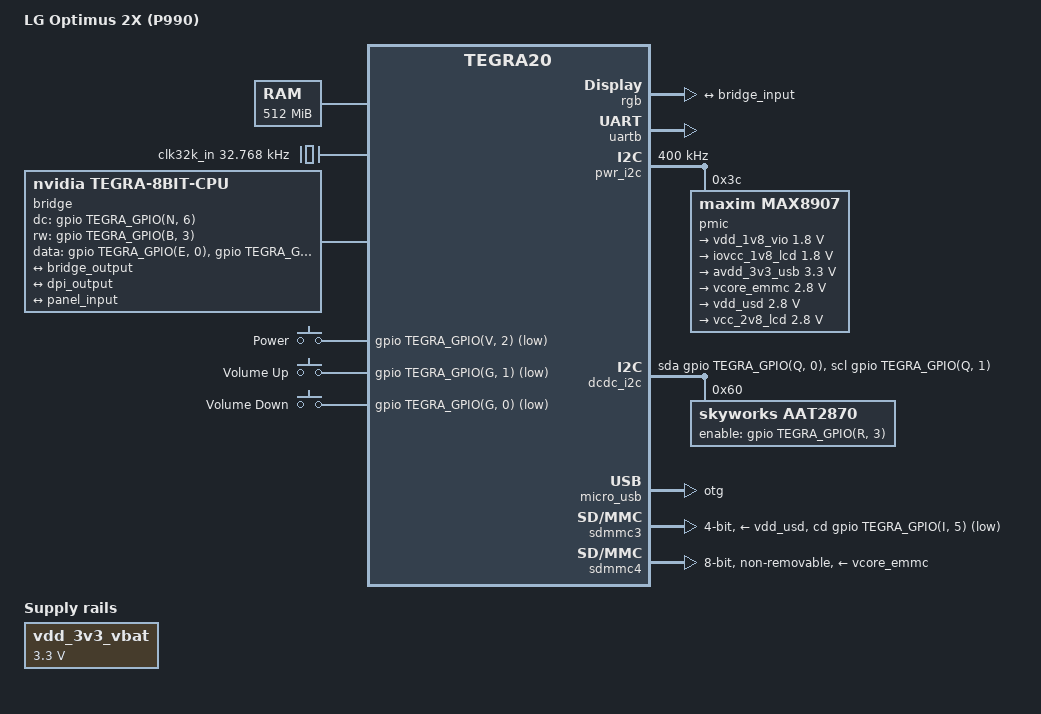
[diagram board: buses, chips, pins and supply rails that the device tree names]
// SPDX-License-Identifier: GPL-2.0
/dts-v1/;

#include <dt-bindings/input/input.h>

#include "tegra20.dtsi"

/ {
	model = "LG Optimus 2X (P990)";
	compatible = "lg,star", "nvidia,tegra20";

	chosen {
		stdout-path = &uartb;
	};

	aliases {
		i2c0 = &pwr_i2c;
		i2c5 = &dcdc_i2c;

		mmc0 = &sdmmc4;	/* eMMC */
		mmc1 = &sdmmc3; /* uSD slot */

		rtc0 = &pmic;
		rtc1 = "/rtc@7000e000";

		usb0 = &micro_usb;
	};

	memory {
		device_type = "memory";
		reg = <0x00000000 0x20000000>; /* 512 MB */
	};

	host1x@50000000 {
		dc@54200000 {
			rgb {
				status = "okay";

				port {
					dpi_output: endpoint {
						remote-endpoint = <&bridge_input>;
						bus-width = <24>;
					};
				};
			};
		};
	};

	bsev@6001b000 {
		status = "okay";
	};

	pinmux@70000014 {
		pinctrl-names = "default";
		pinctrl-0 = <&state_default>;

		state_default: pinmux {
			crt {
				nvidia,pins = "crtp";
				nvidia,function = "crt";
			};

			dap1 {
				nvidia,pins = "dap1";
				nvidia,function = "dap1";
			};

			dap2 {
				nvidia,pins = "dap2";
				nvidia,function = "dap2";
			};

			dap3 {
				nvidia,pins = "dap3";
				nvidia,function = "dap3";
			};

			dap4 {
				nvidia,pins = "dap4";
				nvidia,function = "dap4";
			};

			displaya {
				nvidia,pins = "lcsn", "ld0", "ld1", "ld10",
						"ld11", "ld12", "ld13", "ld14",
						"ld15", "ld16", "ld17", "ld2",
						"ld3", "ld4", "ld5", "ld6",
						"ld7", "ld8", "ld9", "ldc",
						"ldi", "lhp0", "lhp1", "lhp2",
						"lhs", "lm0", "lm1", "lpp",
						"lpw0", "lpw1", "lpw2", "lsc0",
						"lsc1", "lsck", "lsda", "lsdi",
						"lspi", "lvp0", "lvp1", "lvs";
				nvidia,function = "displaya";
			};

			gmi {
				nvidia,pins = "ata", "atc", "atd", "ate",
						"gmb", "irrx", "irtx";
				nvidia,function = "gmi";
			};

			hdmi {
				nvidia,pins = "hdint";
				nvidia,function = "hdmi";
			};

			i2c {
				nvidia,pins = "i2cp", "rm";
				nvidia,function = "i2c";
			};

			i2c2 {
				nvidia,pins = "pta";
				nvidia,function = "i2c2";
			};

			i2c3 {
				nvidia,pins = "dtf";
				nvidia,function = "i2c3";
			};

			kbc {
				nvidia,pins = "kbca", "kbcb", "kbcc", "kbce",
						"kbcf";
				nvidia,function = "kbc";
			};

			owr {
				nvidia,pins = "owc";
				nvidia,function = "owr";
			};

			plla-out {
				nvidia,pins = "cdev1";
				nvidia,function = "plla_out";
			};

			pllp-out4 {
				nvidia,pins = "cdev2";
				nvidia,function = "pllp_out4";
			};

			pwm {
				nvidia,pins = "gpu";
				nvidia,function = "pwm";
			};

			pwr-on {
				nvidia,pins = "pmc";
				nvidia,function = "pwr_on";
			};

			rtck {
				nvidia,pins = "gpu7";
				nvidia,function = "rtck";
			};

			sdio1 {
				nvidia,pins = "sdio1";
				nvidia,function = "sdio1";
			};

			sdio2 {
				nvidia,pins = "kbcd";
				nvidia,function = "sdio2";
			};

			sdio3 {
				nvidia,pins = "sdb", "sdc", "sdd", "slxa",
						"slxd", "slxk", "slxc";
				nvidia,function = "sdio3";
			};

			sdio4 {
				nvidia,pins = "atb", "gma", "gme";
				nvidia,function = "sdio4";
			};

			spi1 {
				nvidia,pins = "uda";
				nvidia,function = "spi1";
			};

			spi2 {
				nvidia,pins = "spia", "spib", "spic";
				nvidia,function = "spi2";
			};

			spi2-alt {
				nvidia,pins = "spid", "spie", "spig", "spih";
				nvidia,function = "spi2_alt";
			};

			uarta {
				nvidia,pins = "uaa", "uab";
				nvidia,function = "uarta";
			};

			uartc {
				nvidia,pins = "uca", "ucb";
				nvidia,function = "uartc";
			};

			uartd {
				nvidia,pins = "gmc";
				nvidia,function = "uartd";
			};

			vi {
				nvidia,pins = "dtc", "dtd";
				nvidia,function = "vi";
			};

			vi-sensor-clk {
				nvidia,pins = "csus";
				nvidia,function = "vi_sensor_clk";
			};

			conf-lsda {
				nvidia,pins = "lsda", "owc";
				nvidia,pull = <TEGRA_PIN_PULL_UP>;
				nvidia,tristate = <TEGRA_PIN_ENABLE>;
			};

			conf-ata {
				nvidia,pins = "ata", "dtf", "gmb", "gmc",
						"i2cp", "irrx", "kbca", "kbcc",
						"kbcd", "kbce", "kbcf", "lcsn",
						"ldc", "pta", "rm", "sdc",
						"sdd", "spie", "spif", "spig",
						"spih", "uaa", "uad", "uca",
						"ucb", "pmce";
				nvidia,pull = <TEGRA_PIN_PULL_UP>;
				nvidia,tristate = <TEGRA_PIN_DISABLE>;
			};

			conf-crtp {
				nvidia,pins = "crtp", "gpv", "hdint", "lhs",
						"lm0", "lpw0", "lpw1", "lpw2",
						"lsc1", "lsck", "lspi", "lvs",
						"slxa", "slxd", "spdi";
				nvidia,pull = <TEGRA_PIN_PULL_NONE>;
				nvidia,tristate = <TEGRA_PIN_ENABLE>;
			};

			conf-atb {
				nvidia,pins = "atb", "atc", "atd", "ate",
						"cdev1", "cdev2", "csus", "dap1",
						"dap2", "dap3", "dap4", "ddc",
						"dta", "dtb", "dte", "gma",
						"gmd", "gme", "gpu", "gpu7",
						"irtx", "kbcb", "lm1", "lsc0",
						"lsdi", "lvp0", "pmc", "sdb",
						"sdio1", "slxc", "spdo", "spia",
						"spib", "spic", "uab", "uac",
						"uda", "ck32", "ddrc", "pmca",
						"pmcb", "pmcc", "pmcd", "xm2c",
						"xm2d";
				nvidia,pull = <TEGRA_PIN_PULL_NONE>;
				nvidia,tristate = <TEGRA_PIN_DISABLE>;
			};

			conf-dtc {
				nvidia,pins = "dtc", "dtd";
				nvidia,pull = <TEGRA_PIN_PULL_DOWN>;
				nvidia,tristate = <TEGRA_PIN_ENABLE>;
			};

			conf-ld0 {
				nvidia,pins = "ld0", "ld1", "ld2", "ld3",
						"ld4", "ld5", "ld6", "ld7",
						"ld8", "ld9", "ld10", "ld11",
						"ld12", "ld13", "ld14", "ld15",
						"ld16", "ld17", "ldi", "lhp0",
						"lhp1", "lhp2", "lpp", "lvp1",
						"slxk", "spid";
				nvidia,pull = <TEGRA_PIN_PULL_DOWN>;
				nvidia,tristate = <TEGRA_PIN_DISABLE>;
			};

			drive-sdio1 {
				nvidia,pins = "drive_sdio1", "drive_vi1";
				nvidia,high-speed-mode = <TEGRA_PIN_DISABLE>;
				nvidia,schmitt = <TEGRA_PIN_ENABLE>;
				nvidia,low-power-mode = <TEGRA_PIN_LP_DRIVE_DIV_1>;
				nvidia,pull-down-strength = <31>;
				nvidia,pull-up-strength = <31>;
				nvidia,slew-rate-rising = <TEGRA_PIN_SLEW_RATE_SLOWEST>;
				nvidia,slew-rate-falling = <TEGRA_PIN_SLEW_RATE_SLOWEST>;
			};

			drive-i2c {
				nvidia,pins = "drive_dbg", "drive_ddc", "drive_at1",
						"drive_vi2", "drive_ao1";
				nvidia,high-speed-mode = <TEGRA_PIN_DISABLE>;
				nvidia,schmitt = <TEGRA_PIN_ENABLE>;
				nvidia,low-power-mode = <TEGRA_PIN_LP_DRIVE_DIV_1>;
				nvidia,pull-down-strength = <31>;
				nvidia,pull-up-strength = <31>;
				nvidia,slew-rate-rising = <TEGRA_PIN_SLEW_RATE_FASTEST>;
				nvidia,slew-rate-falling = <TEGRA_PIN_SLEW_RATE_FASTEST>;
			};

			drive-dap {
				nvidia,pins = "drive_dap2", "drive_dap3";
				nvidia,high-speed-mode = <TEGRA_PIN_DISABLE>;
				nvidia,schmitt = <TEGRA_PIN_ENABLE>;
				nvidia,low-power-mode = <TEGRA_PIN_LP_DRIVE_DIV_1>;
				nvidia,pull-down-strength = <46>;
				nvidia,pull-up-strength = <46>;
				nvidia,slew-rate-rising = <TEGRA_PIN_SLEW_RATE_SLOWEST>;
				nvidia,slew-rate-falling = <TEGRA_PIN_SLEW_RATE_SLOWEST>;
			};
		};
	};

	uartb: serial@70006040 {
		clocks = <&tegra_car 7>;
		status = "okay";
	};

	pwr_i2c: i2c@7000d000 {
		status = "okay";
		clock-frequency = <400000>;

		pmic: max8907@3c {
			compatible = "maxim,max8907";
			reg = <0x3c>;

			interrupts = <GIC_SPI 86 IRQ_TYPE_LEVEL_HIGH>;
			#interrupt-cells = <2>;
			interrupt-controller;

			#gpio-cells = <2>;
			gpio-controller;

			maxim,system-power-controller;

			regulators {
				vdd_1v8_vio: sd3 {
					regulator-name = "vcc_1v8_io";
					regulator-min-microvolt = <1800000>;
					regulator-max-microvolt = <1800000>;
					regulator-always-on;
					regulator-boot-on;
				};

				iovcc_1v8_lcd: ldo3 {
					regulator-name = "vcc_1v8_lcd";
					regulator-min-microvolt = <1800000>;
					regulator-max-microvolt = <1800000>;
					regulator-boot-on;
				};

				avdd_3v3_usb: ldo4 {
					regulator-name = "avdd_3v3_usb";
					regulator-min-microvolt = <3300000>;
					regulator-max-microvolt = <3300000>;
					regulator-always-on;
					regulator-boot-on;
				};

				vcore_emmc: ldo5 {
					regulator-name = "vcc_2v8_emmc";
					regulator-min-microvolt = <2800000>;
					regulator-max-microvolt = <2800000>;
					regulator-boot-on;
				};

				vdd_usd: ldo12 {
					regulator-name = "vcc_2v8_sdio";
					regulator-min-microvolt = <2800000>;
					regulator-max-microvolt = <2800000>;
					regulator-boot-on;
				};

				vcc_2v8_lcd: ldo14 {
					regulator-name = "vcc_2v8_lcd";
					regulator-min-microvolt = <2800000>;
					regulator-max-microvolt = <2800000>;
					regulator-boot-on;
				};
			};
		};
	};

	dcdc_i2c: i2c-5 {
		compatible = "i2c-gpio";

		sda-gpios = <&gpio TEGRA_GPIO(Q, 0) GPIO_ACTIVE_HIGH>;
		scl-gpios = <&gpio TEGRA_GPIO(Q, 1) GPIO_ACTIVE_HIGH>;

		i2c-gpio,delay-us = <5>;
		i2c-gpio,timeout-ms = <100>;

		#address-cells = <1>;
		#size-cells = <0>;

		aat2870: led-controller@60 {
			compatible = "skyworks,aat2870";
			reg = <0x60>;

			enable-gpios = <&gpio TEGRA_GPIO(R, 3) GPIO_ACTIVE_HIGH>;

			backlight {
				current-max-microamp = <27900000>;
			};
		};
	};

	micro_usb: usb@c5000000 {
		status = "okay";
		dr_mode = "otg";
	};

	usb-phy@c5000000 {
		status = "okay";
		vbus-supply = <&avdd_3v3_usb>;
	};

	sdmmc3: sdhci@c8000400 {
		status = "okay";
		bus-width = <4>;

		cd-gpios = <&gpio TEGRA_GPIO(I, 5) GPIO_ACTIVE_LOW>;

		vmmc-supply = <&vdd_usd>;
		vqmmc-supply = <&vdd_1v8_vio>;
	};

	sdmmc4: sdhci@c8000600 {
		status = "okay";
		bus-width = <8>;
		non-removable;

		vmmc-supply = <&vcore_emmc>;
		vqmmc-supply = <&vdd_1v8_vio>;
	};

	/* 32KHz oscillator which is used by PMC */
	clk32k_in: clock-32k-in {
		compatible = "fixed-clock";
		#clock-cells = <0>;
		clock-frequency = <32768>;
		clock-output-names = "ref-oscillator";
	};

	bridge: cpu-bridge {
		compatible = "nvidia,tegra-8bit-cpu";

		dc-gpios = <&gpio TEGRA_GPIO(N, 6) GPIO_ACTIVE_HIGH>;
		rw-gpios = <&gpio TEGRA_GPIO(B, 3) GPIO_ACTIVE_HIGH>;
		cs-gpios = <&gpio TEGRA_GPIO(N, 4) GPIO_ACTIVE_HIGH>;

		data-gpios = <&gpio TEGRA_GPIO(E, 0) GPIO_ACTIVE_HIGH>,
			     <&gpio TEGRA_GPIO(E, 1) GPIO_ACTIVE_HIGH>,
			     <&gpio TEGRA_GPIO(E, 2) GPIO_ACTIVE_HIGH>,
			     <&gpio TEGRA_GPIO(E, 3) GPIO_ACTIVE_HIGH>,
			     <&gpio TEGRA_GPIO(E, 4) GPIO_ACTIVE_HIGH>,
			     <&gpio TEGRA_GPIO(E, 5) GPIO_ACTIVE_HIGH>,
			     <&gpio TEGRA_GPIO(E, 6) GPIO_ACTIVE_HIGH>,
			     <&gpio TEGRA_GPIO(E, 7) GPIO_ACTIVE_HIGH>;

		nvidia,init-sequence = <0x0000002c 0x0 0x0 0x00005000>;

		panel {
			/*
			 * There are 2 rev of P990. One has Hitachi TX10D07VM0BAA
			 * panel and other has LG LH400WV3-SD04 panel. We are using
			 * Hitachi here but it is dynamically adjusted for the
			 * correct compatible.
			 */
			compatible = "hit,tx10d07vm0baa";

			reset-gpios = <&gpio TEGRA_GPIO(V, 7) GPIO_ACTIVE_LOW>;

			avci-supply = <&vcc_2v8_lcd>;
			iovcc-supply = <&iovcc_1v8_lcd>;

			backlight = <&aat2870>;

			port {
				panel_input: endpoint {
					remote-endpoint = <&bridge_output>;
				};
			};
		};

		ports {
			#address-cells = <1>;
			#size-cells = <0>;

			port@0 {
				reg = <0>;

				bridge_input: endpoint {
					remote-endpoint = <&dpi_output>;
				};
			};

			port@1 {
				reg = <1>;

				bridge_output: endpoint {
					remote-endpoint = <&panel_input>;
				};
			};
		};
	};

	gpio-keys {
		compatible = "gpio-keys";

		key-power {
			label = "Power";
			gpios = <&gpio TEGRA_GPIO(V, 2) GPIO_ACTIVE_LOW>;
			linux,code = <KEY_ENTER>;
		};

		key-volume-up {
			label = "Volume Up";
			gpios = <&gpio TEGRA_GPIO(G, 1) GPIO_ACTIVE_LOW>;
			linux,code = <KEY_UP>;
		};

		key-volume-down {
			label = "Volume Down";
			gpios = <&gpio TEGRA_GPIO(G, 0) GPIO_ACTIVE_LOW>;
			linux,code = <KEY_DOWN>;
		};
	};

	vdd_3v3_vbat: regulator-vbat {
		compatible = "regulator-fixed";
		regulator-name = "vdd_vbat";
		regulator-min-microvolt = <3300000>;
		regulator-max-microvolt = <3300000>;
		regulator-always-on;
		regulator-boot-on;
	};
};
